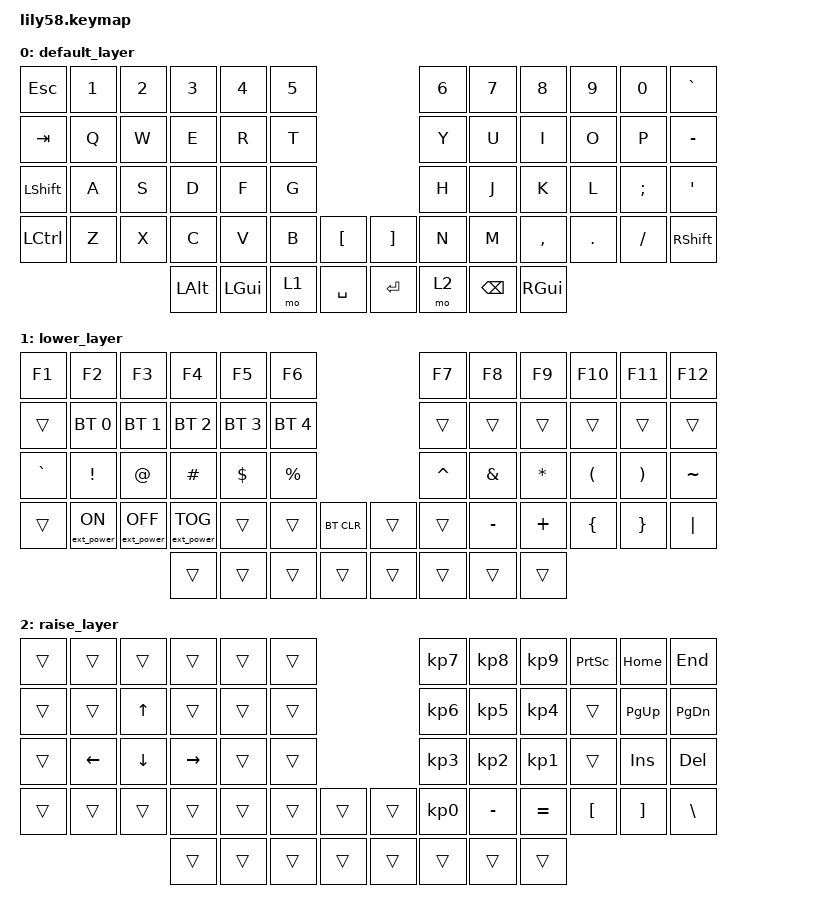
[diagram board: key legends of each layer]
/*
 * Copyright (c) 2020 The ZMK Contributors
 *
 * SPDX-License-Identifier: MIT
 */

#include <behaviors.dtsi>
#include <dt-bindings/zmk/bt.h>
#include <dt-bindings/zmk/ext_power.h>
#include <dt-bindings/zmk/keys.h>

/ {
    keymap {
        compatible = "zmk,keymap";

        default_layer {
            // ------------------------------------------------------------------------------------------------------------
            // |  ESC  |  1  |  2  |  3   |  4   |  5   |                   |  6   |  7    |  8    |  9   |   0   |   `   |
            // |  TAB  |  Q  |  W  |  E   |  R   |  T   |                   |  Y   |  U    |  I    |  O   |   P   |   -   |
            // |  CTRL |  A  |  S  |  D   |  F   |  G   |                   |  H   |  J    |  K    |  L   |   ;   |   '   |
            // | SHIFT |  Z  |  X  |  C   |  V   |  B   |   "["  |  |  "]"  |  N   |  M    |  ,    |  .   |   /   | SHIFT |
            //                     | ALT  | GUI  | LOWER|  SPACE |  | ENTER | RAISE| BSPC  | GUI   |

            bindings = <
&kp ESC           &kp N1  &kp N2  &kp N3    &kp N4    &kp N5                         &kp N6  &kp N7    &kp N8     &kp N9   &kp N0    &kp GRAVE
&kp TAB           &kp Q   &kp W   &kp E     &kp R     &kp T                          &kp Y   &kp U     &kp I      &kp O    &kp P     &kp MINUS
&kp LEFT_SHIFT    &kp A   &kp S   &kp D     &kp F     &kp G                          &kp H   &kp J     &kp K      &kp L    &kp SEMI  &kp SQT
&kp LEFT_CONTROL  &kp Z   &kp X   &kp C     &kp V     &kp B   &kp LBKT     &kp RBKT  &kp N   &kp M     &kp COMMA  &kp DOT  &kp FSLH  &kp RSHFT
                                  &kp LALT  &kp LGUI  &mo 1   &kp SPACE    &kp RET   &mo 2   &kp BSPC  &kp RGUI
            >;
        };

        lower_layer {
            // ------------------------------------------------------------------------------------------------------------
            // | BTCLR | BT1 | BT2 |  BT3 |  BT4 |  BT5 |                   |      |       |       |      |       |       |
            // |  F1   |  F2 |  F3 |  F4  |  F5  |  F6  |                   |  F7  |  F8   |  F9   |  F10 |  F11  |  F12  |
            // |   `   |  !  |  @  |  #   |  $   |  %   |                   |  ^   |  &    |  *    |  (   |   )   |   ~   |
            // |       |     |     |      |      |      |        |  |       |      |  _    |  +    |  {   |   }   |  "|"  |
            //                     |      |      |      |        |  |       |      |       |       |

            bindings = <
&kp F1     &kp F2            &kp F3             &kp F4             &kp F5        &kp F6                              &kp F7     &kp F8     &kp F9     &kp F10   &kp F11   &kp F12
&trans     &bt BT_SEL 0      &bt BT_SEL 1       &bt BT_SEL 2       &bt BT_SEL 3  &bt BT_SEL 4                        &trans     &trans     &trans     &trans    &trans    &trans
&kp GRAVE  &kp EXCL          &kp AT             &kp HASH           &kp DOLLAR    &kp PRCNT                           &kp CARET  &kp AMPS   &kp ASTRK  &kp LPAR  &kp RPAR  &kp TILDE
&trans     &ext_power EP_ON  &ext_power EP_OFF  &ext_power EP_TOG  &trans        &trans        &bt BT_CLR    &trans  &trans     &kp MINUS  &kp PLUS   &kp LBRC  &kp RBRC  &kp PIPE
                                                &trans             &trans        &trans        &trans        &trans  &trans     &trans     &trans
            >;
        };

        raise_layer {
            // ------------------------------------------------------------------------------------------------------------
            // |       |     |     |      |      |      |                   |      |       |       |      |       |       |
            // |   `   |  1  |  2  |  3   |  4   |  5   |                   |  6   |   7   |   8   |  9   |   0   |       |
            // |   F1  |  F2 |  F3 |  F4  |  F5  |  F6  |                   |      |   <-  |   v   |  ^   |  ->   |       |
            // |   F7  |  F8 |  F9 |  F10 |  F11 |  F12 |        |  |       |  +   |   -   |   =   |  [   |   ]   |   \   |
            //                     |      |      |      |        |  |       |      |       |       |

            bindings = <
&trans  &trans          &trans          &trans           &trans  &trans                    &kp KP_NUMBER_7  &kp KP_NUMBER_8  &kp KP_NUMBER_9  &kp PRINTSCREEN  &kp HOME     &kp END
&trans  &trans          &kp UP_ARROW    &trans           &trans  &trans                    &kp KP_NUMBER_6  &kp KP_NUMBER_5  &kp KP_NUMBER_4  &trans           &kp PAGE_UP  &kp PAGE_DOWN
&trans  &kp LEFT_ARROW  &kp DOWN_ARROW  &kp RIGHT_ARROW  &trans  &trans                    &kp KP_NUMBER_3  &kp KP_NUMBER_2  &kp KP_NUMBER_1  &trans           &kp INSERT   &kp DELETE
&trans  &trans          &trans          &trans           &trans  &trans  &trans    &trans  &kp KP_NUMBER_0  &kp MINUS        &kp EQUAL        &kp LBKT         &kp RBKT     &kp BSLH
                                        &trans           &trans  &trans  &trans    &trans  &trans           &trans           &trans
            >;
        };
    };
};
